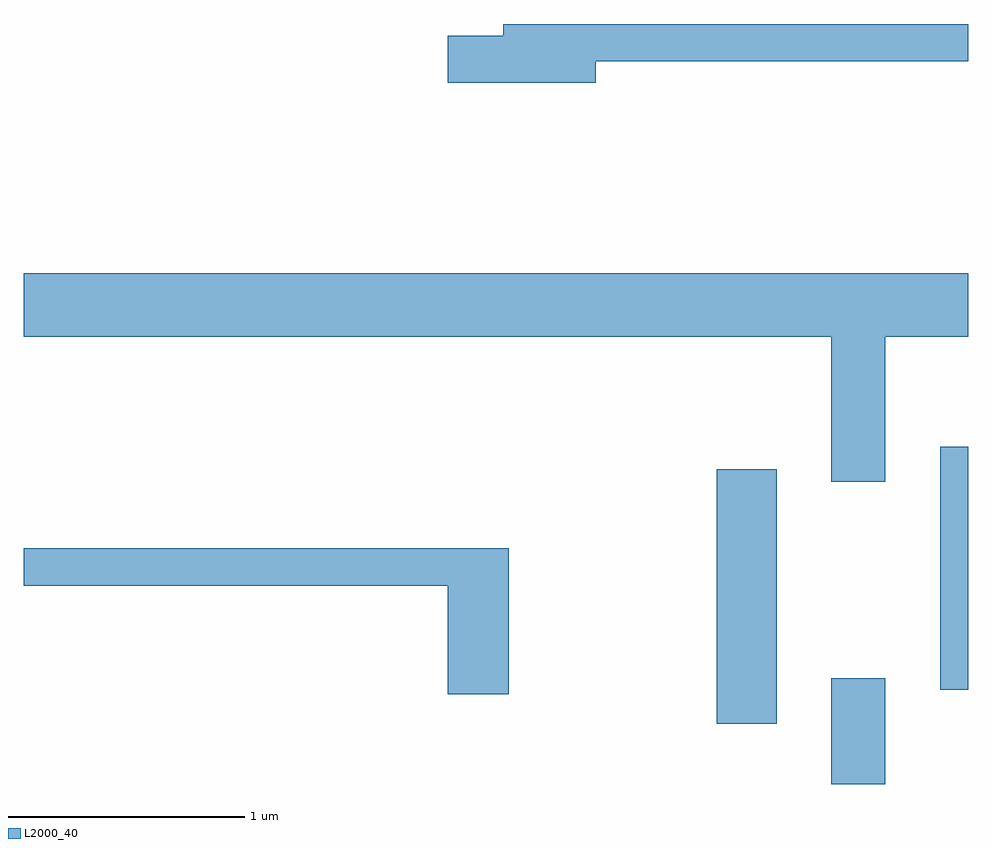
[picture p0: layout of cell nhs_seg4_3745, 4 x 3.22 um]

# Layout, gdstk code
import gdstk
lib = gdstk.Library(unit=1e-6, precision=1e-09)
def R(c, l, rs):  # rectangles x0, y0, x1, y1
    for r in rs: c.add(gdstk.rectangle(r[:2], r[2:], *l))
def P(c, l, *ps):  # polygons
    for p in ps: c.add(gdstk.Polygon(p, *l))
L2000_40 = (2000, 40)

nhs_seg4_3745 = lib.new_cell('nhs_seg4_3745')
R(nhs_seg4_3745, L2000_40, [(299.031,1263.982,299.259,1264.429), (298.546,1264.236,298.799,1265.314), (299.491,1264.381,299.611,1265.409)])
P(nhs_seg4_3745, L2000_40, [(298.034,1267.041),(299.611,1267.041),(299.611,1267.199),(297.641,1267.199),(297.641,1267.149),(297.406,1267.149),(297.406,1266.951),(298.034,1266.951)],
  [(299.259,1265.876),(299.611,1265.876),(299.611,1266.144),(295.611,1266.144),(295.611,1265.876),(299.031,1265.876),(299.031,1265.261),(299.259,1265.261)],
  [(297.664,1264.979),(295.611,1264.979),(295.611,1264.821),(297.406,1264.821),(297.406,1264.361),(297.664,1264.361)])

lib.write_gds('nhs_seg4_3745.gds')
